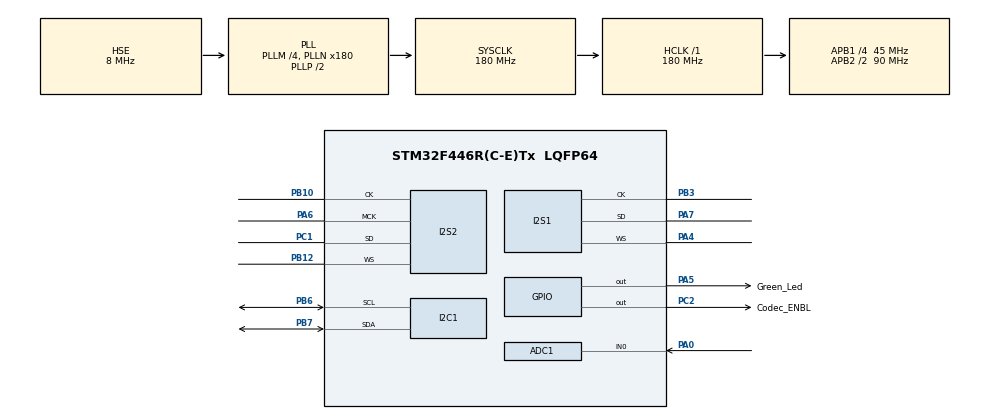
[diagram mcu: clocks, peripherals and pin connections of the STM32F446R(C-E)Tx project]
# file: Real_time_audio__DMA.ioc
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ADC1.Channel-0\#ChannelRegularConversion=ADC_CHANNEL_0
ADC1.InjNumberOfConversion=0
ADC1.NbrOfConversionFlag=1
ADC1.Rank-0\#ChannelRegularConversion=1
ADC1.SamplingTime-0\#ChannelRegularConversion=ADC_SAMPLETIME_3CYCLES
ADC1.master=1
Dma.Request0=SPI2_TX
Dma.Request1=SPI1_RX
Dma.SPI1_RX.1.Direction=DMA_PERIPH_TO_MEMORY
Dma.SPI1_RX.1.FIFOMode=DMA_FIFOMODE_DISABLE
Dma.SPI1_RX.1.Instance=DMA2_Stream0
Dma.SPI1_RX.1.MemDataAlignment=DMA_MDATAALIGN_HALFWORD
Dma.SPI1_RX.1.MemInc=DMA_MINC_ENABLE
Dma.SPI1_RX.1.Mode=DMA_CIRCULAR
Dma.SPI1_RX.1.PeriphDataAlignment=DMA_PDATAALIGN_HALFWORD
Dma.SPI1_RX.1.PeriphInc=DMA_PINC_DISABLE
Dma.SPI1_RX.1.Priority=DMA_PRIORITY_VERY_HIGH
Dma.SPI2_TX.0.Direction=DMA_MEMORY_TO_PERIPH
Dma.SPI2_TX.0.FIFOMode=DMA_FIFOMODE_DISABLE
Dma.SPI2_TX.0.Instance=DMA1_Stream4
Dma.SPI2_TX.0.MemDataAlignment=DMA_MDATAALIGN_HALFWORD
Dma.SPI2_TX.0.MemInc=DMA_MINC_ENABLE
Dma.SPI2_TX.0.Mode=DMA_CIRCULAR
Dma.SPI2_TX.0.PeriphDataAlignment=DMA_PDATAALIGN_HALFWORD
Dma.SPI2_TX.0.PeriphInc=DMA_PINC_DISABLE
Dma.SPI2_TX.0.Priority=DMA_PRIORITY_VERY_HIGH
I2S1.AudioFreq=I2S_AUDIOFREQ_48K
I2S1.DataFormat=I2S_DATAFORMAT_16B
I2S1.ErrorAudioFreq=0.7 %
I2S1.FullDuplexMode=I2S_FULLDUPLEXMODE_DISABLE
I2S1.Instance=SPI$Index
I2S1.Mode=I2S_MODE_SLAVE_RX
I2S1.RealAudioFreq=48.339 KHz
I2S1.VirtualMode=I2S_MODE_SLAVE
I2S2.AudioFreq=I2S_AUDIOFREQ_48K
I2S2.ClockSource-Half_Duplex_Master=I2S_CLOCK_EXTERNAL
I2S2.DataFormat=I2S_DATAFORMAT_16B
I2S2.ErrorAudioFreq=0.7 %
I2S2.FullDuplexMode=I2S_FULLDUPLEXMODE_DISABLE
I2S2.Instance=SPI$Index
I2S2.RealAudioFreq=48.339 KHz
I2S2.VirtualMode=I2S_MODE_MASTER
Mcu.Family=STM32F4
Mcu.Name=STM32F446R(C-E)Tx
Mcu.Package=LQFP64
NVIC.DMA1_Stream4_IRQn=true\:0\:0\:false\:false\:true\:false\:true
NVIC.DMA2_Stream0_IRQn=true\:0\:0\:false\:false\:true\:false\:true
NVIC.PriorityGroup=NVIC_PRIORITYGROUP_4
PA0-WKUP.Signal=ADCx_IN0
PA4.GPIO_Speed=GPIO_SPEED_FREQ_LOW
PA4.Mode=Half_Duplex_Slave
PA4.Signal=I2S1_WS
PA5.GPIO_Label=Green_Led
PA5.PinState=GPIO_PIN_RESET
PA5.Signal=GPIO_Output
PA6.Mode=Master_Clock_Activated
PA6.Signal=I2S2_MCK
PA7.GPIO_Speed=GPIO_SPEED_FREQ_LOW
PA7.Mode=Half_Duplex_Slave
PA7.Signal=I2S1_SD
PB10.GPIO_Speed=GPIO_SPEED_FREQ_LOW
PB10.Mode=Half_Duplex_Master
PB10.Signal=I2S2_CK
PB12.GPIO_Speed=GPIO_SPEED_FREQ_LOW
PB12.Mode=Half_Duplex_Master
PB12.Signal=I2S2_WS
PB3.GPIO_Speed=GPIO_SPEED_FREQ_LOW
PB3.Mode=Half_Duplex_Slave
PB3.Signal=I2S1_CK
PB6.GPIO_Speed=GPIO_SPEED_FREQ_LOW
PB6.Mode=I2C
PB6.Signal=I2C1_SCL
PB7.GPIO_Speed=GPIO_SPEED_FREQ_LOW
PB7.Mode=I2C
PB7.Signal=I2C1_SDA
PC1.GPIO_Speed=GPIO_SPEED_FREQ_LOW
PC1.Mode=Half_Duplex_Master
PC1.Signal=I2S2_SD
PC14-OSC32_IN.Mode=LSE-External-Oscillator
PC14-OSC32_IN.Signal=RCC_OSC32_IN
PC15-OSC32_OUT.Mode=LSE-External-Oscillator
PC15-OSC32_OUT.Signal=RCC_OSC32_OUT
PC2.GPIO_Label=Codec_ENBL
PC2.GPIO_Speed=GPIO_SPEED_FREQ_LOW
PC2.Signal=GPIO_Output
PH0-OSC_IN.Mode=HSE-External-Oscillator
PH0-OSC_IN.Signal=RCC_OSC_IN
PH1-OSC_OUT.Mode=HSE-External-Oscillator
PH1-OSC_OUT.Signal=RCC_OSC_OUT
ProjectManager.HeapSize=0x200
ProjectManager.StackSize=0x400
ProjectManager.TargetToolchain=STM32CubeIDE
RCC.AHBFreq_Value=180000000
RCC.APB1CLKDivider=RCC_HCLK_DIV4
RCC.APB1Freq_Value=45000000
RCC.APB1TimFreq_Value=90000000
RCC.APB2CLKDivider=RCC_HCLK_DIV2
RCC.APB2Freq_Value=90000000
RCC.APB2TimFreq_Value=180000000
RCC.CortexFreq_Value=180000000
RCC.EXTERNAL_CLOCK_VALUE=16000000
RCC.HCLKFreq_Value=180000000
RCC.HSE_VALUE=8000000
RCC.PLLI2SM=4
RCC.PLLI2SN=99
RCC.PLLM=4
RCC.PLLN=180
RCC.PLLR=7
RCC.PLLSourceVirtual=RCC_PLLSOURCE_HSE
RCC.SYSCLKFreq_VALUE=180000000
RCC.SYSCLKSource=RCC_SYSCLKSOURCE_PLLCLK
RCC.USBFreq_Value=180000000
RCC.VCOOutputFreq_Value=360000000
SH.ADCx_IN0.0=ADC1_IN0,IN0
board=custom

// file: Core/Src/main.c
/* USER CODE BEGIN Header */
/**
  ******************************************************************************
  * @file           : main.c
  * @brief          : Main program body
  ******************************************************************************
  * @attention
  *
  * <h2><center>&copy; Copyright (c) 2024 STMicroelectronics.
  * All rights reserved.</center></h2>
  *
  * This software component is licensed by ST under BSD 3-Clause license,
  * the "License"; You may not use this file except in compliance with the
  * License. You may obtain a copy of the License at:
  *                        opensource.org/licenses/BSD-3-Clause
  *
  ******************************************************************************
  */
/* USER CODE END Header */

#include "main.h"

/* USER CODE BEGIN Includes */
#include <platform_interface.h>
#include <codec_hal.h>
/* USER CODE END Includes */

ADC_HandleTypeDef hadc1;

I2C_HandleTypeDef hi2c1;

I2S_HandleTypeDef hi2s1;
I2S_HandleTypeDef hi2s2;
DMA_HandleTypeDef hdma_spi1_rx;
DMA_HandleTypeDef hdma_spi2_tx;

/* USER CODE BEGIN PV */
uint16_t adc_buff[BUF_LENGTH] = {0};
uint16_t dac_buff[BUF_LENGTH] = {0};
uint16_t receive_buff[BUF_LENGTH] = {0};
uint16_t transmit_buff[BUF_LENGTH] = {0};

/* Choose codec specific driver. */
const CodecInterface_t *codec_drv = &codec_driver;

const codec_pcfg_t default_init_cgf =
{
		.input_ch_num = 2,
		.output_ch_num = 2,
		.input_gain_db = 0,
		.output_gain_db = 0
};

GlobalGains_t GlbGains =
{
  .mute = false,
  .gain_pot_setting = 0,
  .flat_gain=  4
};

int16_t adcResult;
/* USER CODE END PV */

void SystemClock_Config(void);
static void MX_GPIO_Init(void);
static void MX_DMA_Init(void);
static void MX_I2C1_Init(void);
static void MX_I2S1_Init(void);
static void MX_I2S2_Init(void);
static void MX_ADC1_Init(void);
/* USER CODE BEGIN PFP */

void Codec_pin_enable(void);
int16_t codec_initialization(void);
void process_audio(uint32_t start_point, uint32_t end_point);

/* USER CODE END PFP */

int main(void)
{

  /* MCU Configuration--------------------------------------------------------*/

  /* Reset of all peripherals, Initializes the Flash interface and the Systick. */
  HAL_Init();

  /* Configure the system clock */
  SystemClock_Config();

  /* Initialize all configured peripherals */
  MX_GPIO_Init();
  MX_DMA_Init();
  MX_I2C1_Init();
  MX_I2S1_Init();
  MX_I2S2_Init();
  MX_ADC1_Init();
  /* USER CODE BEGIN 2 */

  /* Enable reception/transmission before codec initialization
   * triggering MASTER clock output,to let PLL lock properly.
   */
  HAL_I2S_Receive_DMA(&hi2s1, (uint16_t *)&adc_buff[0], BUF_LENGTH); // receive first packet from MIC-ADC,
  HAL_I2S_Transmit_DMA(&hi2s2, (uint16_t *)&dac_buff[0], BUF_LENGTH); // transmit first packet to DAC-headphones,

  int16_t ret = 0;
  ret = codec_initialization();
  if (ret)
  {
	  return ret;
  }
  HAL_Delay(100);

  /* USER CODE END 2 */

  /* Infinite loop */
  while (1)
  {

  }
}

void SystemClock_Config(void)
{
  RCC_OscInitTypeDef RCC_OscInitStruct = {0};
  RCC_ClkInitTypeDef RCC_ClkInitStruct = {0};
  RCC_PeriphCLKInitTypeDef PeriphClkInitStruct = {0};

  /** Configure the main internal regulator output voltage
  */
  __HAL_RCC_PWR_CLK_ENABLE();
  __HAL_PWR_VOLTAGESCALING_CONFIG(PWR_REGULATOR_VOLTAGE_SCALE1);
  /** Initializes the CPU, AHB and APB busses clocks
  */
  RCC_OscInitStruct.OscillatorType = RCC_OSCILLATORTYPE_HSE;
  RCC_OscInitStruct.HSEState = RCC_HSE_ON;
  RCC_OscInitStruct.PLL.PLLState = RCC_PLL_ON;
  RCC_OscInitStruct.PLL.PLLSource = RCC_PLLSOURCE_HSE;
  RCC_OscInitStruct.PLL.PLLM = 4;
  RCC_OscInitStruct.PLL.PLLN = 180;
  RCC_OscInitStruct.PLL.PLLP = RCC_PLLP_DIV2;
  RCC_OscInitStruct.PLL.PLLQ = 2;
  RCC_OscInitStruct.PLL.PLLR = 7;
  if (HAL_RCC_OscConfig(&RCC_OscInitStruct) != HAL_OK)
  {
    Error_Handler();
  }
  /** Activate the Over-Drive mode
  */
  if (HAL_PWREx_EnableOverDrive() != HAL_OK)
  {
    Error_Handler();
  }
  /** Initializes the CPU, AHB and APB busses clocks
  */
  RCC_ClkInitStruct.ClockType = RCC_CLOCKTYPE_HCLK|RCC_CLOCKTYPE_SYSCLK
                              |RCC_CLOCKTYPE_PCLK1|RCC_CLOCKTYPE_PCLK2;
  RCC_ClkInitStruct.SYSCLKSource = RCC_SYSCLKSOURCE_PLLCLK;
  RCC_ClkInitStruct.AHBCLKDivider = RCC_SYSCLK_DIV1;
  RCC_ClkInitStruct.APB1CLKDivider = RCC_HCLK_DIV4;
  RCC_ClkInitStruct.APB2CLKDivider = RCC_HCLK_DIV2;

  if (HAL_RCC_ClockConfig(&RCC_ClkInitStruct, FLASH_LATENCY_5) != HAL_OK)
  {
    Error_Handler();
  }
  PeriphClkInitStruct.PeriphClockSelection = RCC_PERIPHCLK_I2S_APB1|RCC_PERIPHCLK_I2S_APB2;
  PeriphClkInitStruct.PLLI2S.PLLI2SN = 99;
  PeriphClkInitStruct.PLLI2S.PLLI2SP = RCC_PLLI2SP_DIV2;
  PeriphClkInitStruct.PLLI2S.PLLI2SM = 4;
  PeriphClkInitStruct.PLLI2S.PLLI2SR = 2;
  PeriphClkInitStruct.PLLI2S.PLLI2SQ = 2;
  PeriphClkInitStruct.PLLI2SDivQ = 1;
  PeriphClkInitStruct.I2sApb2ClockSelection = RCC_I2SAPB2CLKSOURCE_PLLI2S;
  PeriphClkInitStruct.I2sApb1ClockSelection = RCC_I2SAPB1CLKSOURCE_PLLI2S;
  if (HAL_RCCEx_PeriphCLKConfig(&PeriphClkInitStruct) != HAL_OK)
  {
    Error_Handler();
  }
}

static void MX_ADC1_Init(void)
{

  ADC_ChannelConfTypeDef sConfig = {0};

  /** Configure the global features of the ADC (Clock, Resolution, Data Alignment and number of conversion)
  */
  hadc1.Instance = ADC1;
  hadc1.Init.ClockPrescaler = ADC_CLOCK_SYNC_PCLK_DIV4;
  hadc1.Init.Resolution = ADC_RESOLUTION_12B;
  hadc1.Init.ScanConvMode = DISABLE;
  hadc1.Init.ContinuousConvMode = DISABLE;
  hadc1.Init.DiscontinuousConvMode = DISABLE;
  hadc1.Init.ExternalTrigConvEdge = ADC_EXTERNALTRIGCONVEDGE_NONE;
  hadc1.Init.ExternalTrigConv = ADC_SOFTWARE_START;
  hadc1.Init.DataAlign = ADC_DATAALIGN_RIGHT;
  hadc1.Init.NbrOfConversion = 1;
  hadc1.Init.DMAContinuousRequests = DISABLE;
  hadc1.Init.EOCSelection = ADC_EOC_SINGLE_CONV;
  if (HAL_ADC_Init(&hadc1) != HAL_OK)
  {
    Error_Handler();
  }
  /** Configure for the selected ADC regular channel its corresponding rank in the sequencer and its sample time.
  */
  sConfig.Channel = ADC_CHANNEL_0;
  sConfig.Rank = 1;
  sConfig.SamplingTime = ADC_SAMPLETIME_3CYCLES;
  if (HAL_ADC_ConfigChannel(&hadc1, &sConfig) != HAL_OK)
  {
    Error_Handler();
  }

}

static void MX_I2C1_Init(void)
{

  hi2c1.Instance = I2C1;
  hi2c1.Init.ClockSpeed = 100000;
  hi2c1.Init.DutyCycle = I2C_DUTYCYCLE_2;
  hi2c1.Init.OwnAddress1 = 0;
  hi2c1.Init.AddressingMode = I2C_ADDRESSINGMODE_7BIT;
  hi2c1.Init.DualAddressMode = I2C_DUALADDRESS_DISABLE;
  hi2c1.Init.OwnAddress2 = 0;
  hi2c1.Init.GeneralCallMode = I2C_GENERALCALL_DISABLE;
  hi2c1.Init.NoStretchMode = I2C_NOSTRETCH_DISABLE;
  if (HAL_I2C_Init(&hi2c1) != HAL_OK)
  {
    Error_Handler();
  }

}

static void MX_I2S1_Init(void)
{

  hi2s1.Instance = SPI1;
  hi2s1.Init.Mode = I2S_MODE_SLAVE_RX;
  hi2s1.Init.Standard = I2S_STANDARD_PHILIPS;
  hi2s1.Init.DataFormat = I2S_DATAFORMAT_16B;
  hi2s1.Init.MCLKOutput = I2S_MCLKOUTPUT_DISABLE;
  hi2s1.Init.AudioFreq = I2S_AUDIOFREQ_48K;
  hi2s1.Init.CPOL = I2S_CPOL_LOW;
  hi2s1.Init.ClockSource = I2S_CLOCK_PLL;
  hi2s1.Init.FullDuplexMode = I2S_FULLDUPLEXMODE_DISABLE;
  if (HAL_I2S_Init(&hi2s1) != HAL_OK)
  {
    Error_Handler();
  }

}

static void MX_I2S2_Init(void)
{

  hi2s2.Instance = SPI2;
  hi2s2.Init.Mode = I2S_MODE_MASTER_TX;
  hi2s2.Init.Standard = I2S_STANDARD_PHILIPS;
  hi2s2.Init.DataFormat = I2S_DATAFORMAT_16B;
  hi2s2.Init.MCLKOutput = I2S_MCLKOUTPUT_ENABLE;
  hi2s2.Init.AudioFreq = I2S_AUDIOFREQ_48K;
  hi2s2.Init.CPOL = I2S_CPOL_LOW;
  hi2s2.Init.ClockSource = I2S_CLOCK_PLL;
  hi2s2.Init.FullDuplexMode = I2S_FULLDUPLEXMODE_DISABLE;
  if (HAL_I2S_Init(&hi2s2) != HAL_OK)
  {
    Error_Handler();
  }

}

static void MX_DMA_Init(void)
{

  /* DMA controller clock enable */
  __HAL_RCC_DMA1_CLK_ENABLE();
  __HAL_RCC_DMA2_CLK_ENABLE();

  /* DMA interrupt init */
  /* DMA1_Stream4_IRQn interrupt configuration */
  HAL_NVIC_SetPriority(DMA1_Stream4_IRQn, 0, 0);
  HAL_NVIC_EnableIRQ(DMA1_Stream4_IRQn);
  /* DMA2_Stream0_IRQn interrupt configuration */
  HAL_NVIC_SetPriority(DMA2_Stream0_IRQn, 0, 0);
  HAL_NVIC_EnableIRQ(DMA2_Stream0_IRQn);

}

static void MX_GPIO_Init(void)
{
  GPIO_InitTypeDef GPIO_InitStruct = {0};

  /* GPIO Ports Clock Enable */
  __HAL_RCC_GPIOC_CLK_ENABLE();
  __HAL_RCC_GPIOH_CLK_ENABLE();
  __HAL_RCC_GPIOA_CLK_ENABLE();
  __HAL_RCC_GPIOB_CLK_ENABLE();

  /*Configure GPIO pin Output Level */
  HAL_GPIO_WritePin(Codec_ENBL_GPIO_Port, Codec_ENBL_Pin, GPIO_PIN_RESET);

  /*Configure GPIO pin Output Level */
  HAL_GPIO_WritePin(Green_Led_GPIO_Port, Green_Led_Pin, GPIO_PIN_RESET);

  /*Configure GPIO pin : Codec_ENBL_Pin */
  GPIO_InitStruct.Pin = Codec_ENBL_Pin;
  GPIO_InitStruct.Mode = GPIO_MODE_OUTPUT_PP;
  GPIO_InitStruct.Pull = GPIO_NOPULL;
  GPIO_InitStruct.Speed = GPIO_SPEED_FREQ_LOW;
  HAL_GPIO_Init(Codec_ENBL_GPIO_Port, &GPIO_InitStruct);

  /*Configure GPIO pin : Green_Led_Pin */
  GPIO_InitStruct.Pin = Green_Led_Pin;
  GPIO_InitStruct.Mode = GPIO_MODE_OUTPUT_PP;
  GPIO_InitStruct.Pull = GPIO_NOPULL;
  GPIO_InitStruct.Speed = GPIO_SPEED_FREQ_LOW;
  HAL_GPIO_Init(Green_Led_GPIO_Port, &GPIO_InitStruct);

}

/* USER CODE BEGIN 4 */
void process_audio(uint32_t start_point, uint32_t end_point)
{
	for (uint16_t i = start_point; i<end_point; i++) /* Process only one channel, doubled to stereo */
	{

		/* Process by casting to int16_t since it's in 2s complement representation */
		adcResult =  (int16_t)adc_buff[2*i]; /* Acquire only Left Mic channel from codec's rx-channel. */

		if ((adcResult > NOISE_THRHLD) || (adcResult < -NOISE_THRHLD))
		{ /* Input level indicator */
			HAL_GPIO_WritePin(Green_Led_GPIO_Port, Green_Led_Pin, GPIO_PIN_SET); /* turn green led on */

		} else
		{
			HAL_GPIO_WritePin(Green_Led_GPIO_Port, Green_Led_Pin, GPIO_PIN_RESET); /* turn green led off */
		}

		/* All sample processing placed here. */

		receive_buff[2*i] = (uint16_t) adcResult; /* Left */

		receive_buff[(2*i) + 1] = receive_buff[2*i]; /* Right */

		/* To codec's tx-channel. */
		dac_buff[2*i] = receive_buff[2*i]; /* Left */
		dac_buff[(2*i)+1] = receive_buff[(2*i) + 1]; /* Right */
	}

}

/* Moved all processing to rx path callbacks so tx callbacks are not used. */
void HAL_I2S_TxHalfCpltCallback(I2S_HandleTypeDef *hi2s)
{

}

void HAL_I2S_TxCpltCallback(I2S_HandleTypeDef *hi2s)
{

}

void HAL_I2S_RxHalfCpltCallback(I2S_HandleTypeDef *hi2s)
{
	/* Process the first half of the buffer received through DMA. */
	process_audio(0, BUF_LENGTH/4);

	/* Pol for pot value */
	HAL_ADC_Start(&hadc1);
	GlbGains.gain_pot_setting = ((float)HAL_ADC_GetValue(&hadc1) / (float)4095) * GlbGains.flat_gain;
}

void HAL_I2S_RxCpltCallback(I2S_HandleTypeDef *hi2s)
{
	/* Process the second half of the buffer received through DMA. */
	process_audio(BUF_LENGTH/4, BUF_LENGTH/2);

	/* Pol for pot value */
	HAL_ADC_Start(&hadc1);
	GlbGains.gain_pot_setting = ((float)HAL_ADC_GetValue(&hadc1) / (float)4095) * GlbGains.flat_gain;

}

void Codec_pin_enable(void)
{
	/* Turn high the enable pin triggering codec reset. */
	HAL_GPIO_WritePin(Codec_ENBL_GPIO_Port, Codec_ENBL_Pin, GPIO_PIN_SET);

}

int16_t codec_initialization(void)
{
	int16_t ret = 0;

	Codec_pin_enable();
	/* GPIO debounce time. */
	HAL_Delay(100);
    ret= codec_drv->codec_init(CODEC_DEV0, true, (codec_pcfg_t *)&default_init_cgf);
    if (ret)
    {
      return ret;
    }
	HAL_Delay(100);

	ret = codec_drv->set_codec_frame_len(CODEC_DEV0, DEFAULT_BIT_PER_CHANL);
    if (ret)
    {
      return ret;
    }
    ret = codec_drv->codec_pll_init(CODEC_DEV0, false, CODEC_MCLK, DEFAULT_BIT_CLOCK, NULL);
    if (ret)
    {
      return ret;
    }

    /* Give some relaxation cycles for PLL to lock. */
	HAL_Delay(100);

	ret = codec_drv->codec_set_sample_rate(CODEC_DEV0, SAMPLING_RATE, NULL);
    if (ret)
    {
      return ret;
    }

    ret = codec_drv->codec_set_tdm_frmt(CODEC_DEV0, DEFAULT_DAI_SLOT_WIDTH, DEFAULT_BIT_PER_CHANL, DEFAULT_DAI_SLOTS, NULL);
    if (ret)
    {
      return ret;
    }

    /* Provide time for codec to be set properly. */
	HAL_Delay(100);

	return ret;
}

/* USER CODE END 4 */

void Error_Handler(void)
{
}

/************************ (C) COPYRIGHT STMicroelectronics *****END OF FILE****/
